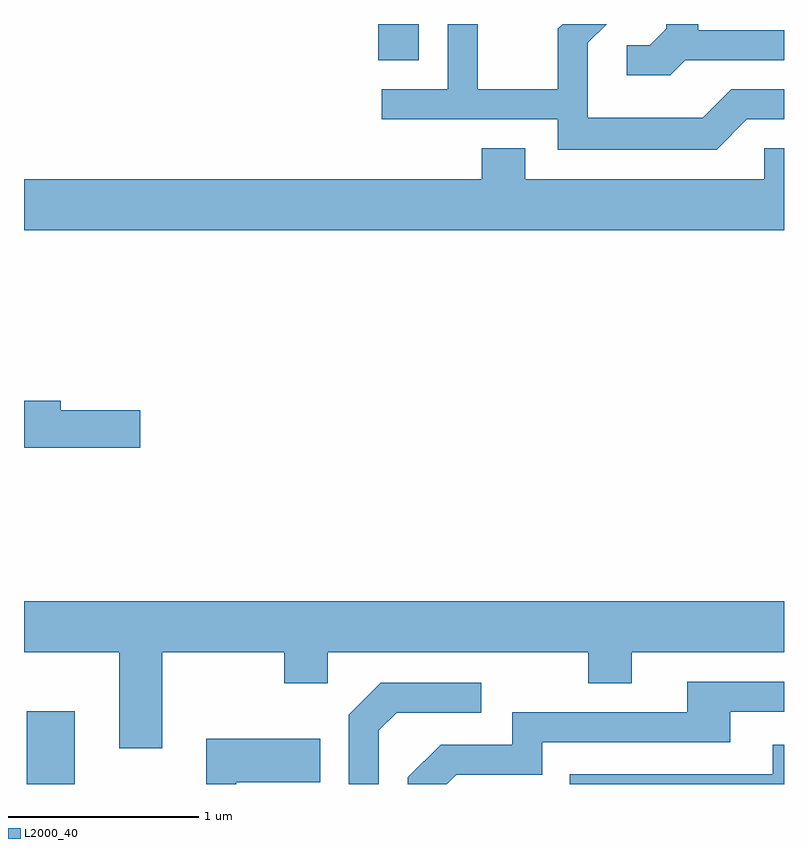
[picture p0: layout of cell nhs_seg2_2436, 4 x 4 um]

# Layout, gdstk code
import gdstk
lib = gdstk.Library(unit=1e-6, precision=1e-09)
def R(c, l, rs):  # rectangles x0, y0, x1, y1
    for r in rs: c.add(gdstk.rectangle(r[:2], r[2:], *l))
def P(c, l, *ps):  # polygons
    for p in ps: c.add(gdstk.Polygon(p, *l))
L2000_40 = (2000, 40)

nhs_seg2_2436 = lib.new_cell('nhs_seg2_2436')
R(nhs_seg2_2436, L2000_40, [(255.626,1089.802,255.879,1090.184), (257.476,1093.611,257.689,1093.802)])
P(nhs_seg2_2436, L2000_40, [(259.416,1093.301),(259.611,1093.301),(259.611,1093.459),(259.334,1093.459),(259.183,1093.309),(258.579,1093.309),(258.579,1093.704),(258.677,1093.802),(258.446,1093.802),(258.421,1093.777),(258.421,1093.459),(257.999,1093.459),(257.999,1093.802),(257.841,1093.802),(257.841,1093.459),(257.493,1093.459),(257.493,1093.301),(258.421,1093.301),(258.421,1093.141),(259.257,1093.141)],
  [(259.092,1093.611),(259.611,1093.611),(259.611,1093.769),(259.159,1093.769),(259.159,1093.802),(258.991,1093.802),(258.991,1093.777),(258.904,1093.689),(258.783,1093.689),(258.783,1093.531),(259.012,1093.531)],
  [(259.611,1093.149),(259.506,1093.149),(259.506,1092.984),(258.249,1092.984),(258.249,1093.149),(258.021,1093.149),(258.021,1092.984),(255.611,1092.984),(255.611,1092.716),(259.611,1092.716)],
  [(256.224,1091.769),(255.804,1091.769),(255.804,1091.819),(255.611,1091.819),(255.611,1091.571),(256.224,1091.571)],
  [(256.339,1090.496),(256.981,1090.496),(256.981,1090.331),(257.209,1090.331),(257.209,1090.496),(258.581,1090.496),(258.581,1090.331),(258.809,1090.331),(258.809,1090.496),(259.611,1090.496),(259.611,1090.764),(255.611,1090.764),(255.611,1090.496),(256.111,1090.496),(256.111,1089.991),(256.339,1089.991)],
  [(257.887,1089.851),(258.339,1089.851),(258.339,1090.021),(259.329,1090.021),(259.329,1090.181),(259.611,1090.181),(259.611,1090.339),(259.101,1090.339),(259.101,1090.179),(258.181,1090.179),(258.181,1090.009),(257.804,1090.009),(257.631,1089.837),(257.631,1089.802),(257.837,1089.802)],
  [(257.479,1090.084),(257.572,1090.176),(258.017,1090.176),(258.017,1090.334),(257.489,1090.334),(257.321,1090.167),(257.321,1089.802),(257.479,1089.802)],
  [(256.729,1089.811),(257.169,1089.811),(257.169,1090.039),(256.571,1090.039),(256.571,1089.802),(256.729,1089.802)],
  [(259.611,1090.009),(259.551,1090.009),(259.551,1089.854),(258.483,1089.854),(258.483,1089.802),(259.611,1089.802)])

lib.write_gds('nhs_seg2_2436.gds')
